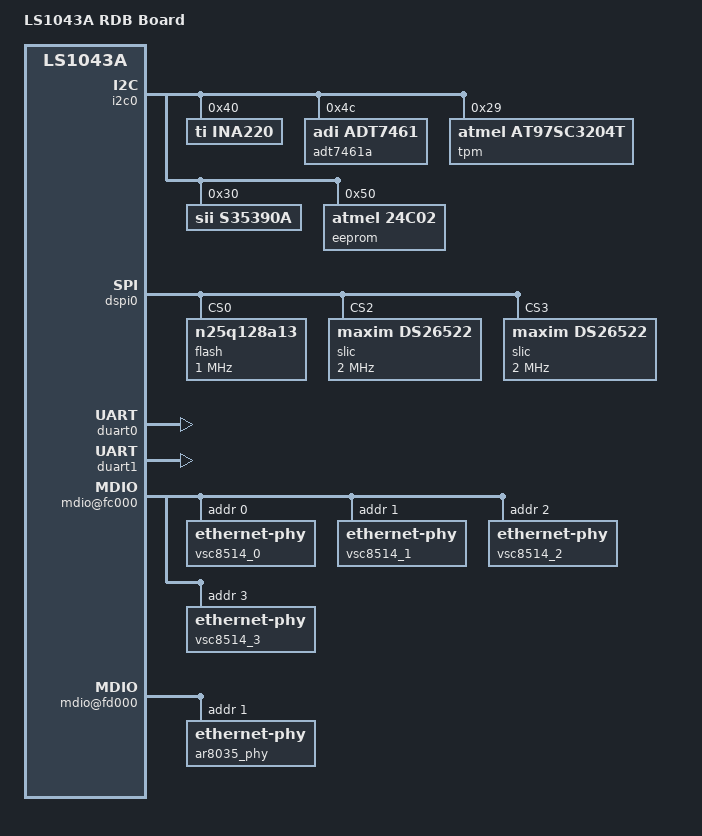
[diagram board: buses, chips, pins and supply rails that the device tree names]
// SPDX-License-Identifier: (GPL-2.0+ OR MIT)
/*
 * Device Tree Include file for Freescale Layerscape-1043A family SoC.
 *
 * Copyright 2014-2015 Freescale Semiconductor, Inc.
 *
 * Mingkai Hu <Mingkai.hu@freescale.com>
 */

/dts-v1/;
#include "fsl-ls1043a.dtsi"

/ {
	model = "LS1043A RDB Board";

	aliases {
		serial0 = &duart0;
		serial1 = &duart1;
		serial2 = &duart2;
		serial3 = &duart3;
	};

	chosen {
		stdout-path = "serial0:115200n8";
	};
};

&i2c0 {
	status = "okay";
	ina220@40 {
		compatible = "ti,ina220";
		reg = <0x40>;
		shunt-resistor = <1000>;
	};
	adt7461a@4c {
		compatible = "adi,adt7461";
		reg = <0x4c>;
	};
	tpm@29 {
		compatible = "atmel,at97sc3204t";
		reg = <0x29>;
	};

	s35390a@30 {
		compatible = "sii,s35390a";
		reg = <0x30>;
	};
	eeprom@50 {
		compatible = "atmel,24c02";
		reg = <0x50>;
	};
};

&ifc {
	/delete-node/ nor@0,0;
	/delete-node/ nand@1,0;
};

&dspi0 {
	bus-num = <0>;
	status = "okay";

	flash@0 {
		#address-cells = <1>;
		#size-cells = <1>;
		compatible = "n25q128a13", "jedec,spi-nor";  /* 16MB */
		reg = <0>;
		spi-max-frequency = <1000000>; /* input clock */
	};

	slic@2 {
		compatible = "maxim,ds26522";
		reg = <2>;
		spi-max-frequency = <2000000>;
		fsl,spi-cs-sck-delay = <100>;
		fsl,spi-sck-cs-delay = <50>;
	};

	slic@3 {
		compatible = "maxim,ds26522";
		reg = <3>;
		spi-max-frequency = <2000000>;
		fsl,spi-cs-sck-delay = <100>;
		fsl,spi-sck-cs-delay = <50>;
	};
};

&uqe {
	ucc_hdlc: ucc@2000 {
		compatible = "fsl,ucc-hdlc";
		rx-clock-name = "clk8";
		tx-clock-name = "clk9";
		fsl,rx-sync-clock = "rsync_pin";
		fsl,tx-sync-clock = "tsync_pin";
		fsl,tx-timeslot-mask = <0xfffffffe>;
		fsl,rx-timeslot-mask = <0xfffffffe>;
		fsl,tdm-framer-type = "e1";
		fsl,tdm-id = <0>;
		fsl,siram-entry-id = <0>;
		fsl,tdm-interface;
	};
};

&duart0 {
	status = "okay";
};

&duart1 {
	status = "okay";
};

#include "fsl-ls1043-post.dtsi"

&fman0 {
	ethernet@e0000 {
		phy-handle = <&vsc8514_0>;
	};

	ethernet@e2000 {
		phy-handle = <&vsc8514_1>;
	};

	ethernet@e4000 {
		phy-handle = <&ar8035_phy>;
	};

        ethernet@e6000 {
		/delete-property/ phy-handle;
	};

	ethernet@e8000 {
		phy-handle = <&vsc8514_2>;
	};

	ethernet@ea000 {
		phy-handle = <&vsc8514_3>;
	};

	ethernet@f0000 {
		/delete-property/ phy-handle;
	};

	mdio@fc000 {
		vsc8514_0: ethernet-phy@1 {
			reg = <0x0>;
		};

		vsc8514_1: ethernet-phy@2 {
			reg = <0x1>;
		};

		vsc8514_2: ethernet-phy@3 {
			reg = <0x2>;
		};

		vsc8514_3: ethernet-phy@4 {
			reg = <0x3>;
		};
	};

	mdio@fd000 {
		ar8035_phy: ethernet-phy@1 {
			reg = <0x1>;
			/delete-property/ compatible;
			/delete-property/ interrupts;
		};
	};
};
